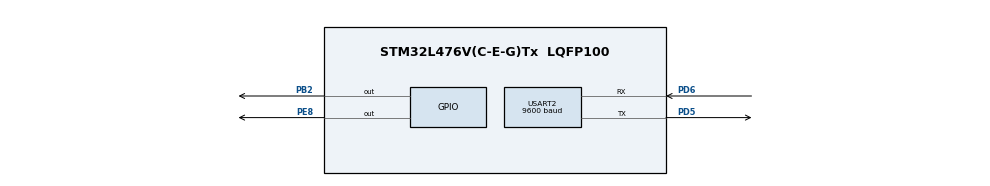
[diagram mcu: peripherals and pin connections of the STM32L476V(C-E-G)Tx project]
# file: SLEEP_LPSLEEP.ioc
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ADC1.Channel-0\#ChannelRegularConversion=ADC_CHANNEL_TEMPSENSOR
ADC1.ClockPrescaler=ADC_CLOCK_ASYNC_DIV1
ADC1.ContinuousConvMode=DISABLE
ADC1.DMAContinuousRequests=ENABLE
ADC1.DataAlign=ADC_DATAALIGN_RIGHT
ADC1.DiscontinuousConvMode=DISABLE
ADC1.EOCSelection=ADC_EOC_SINGLE_CONV
ADC1.EnableAnalogWatchDog1=false
ADC1.EnableAnalogWatchDog2=false
ADC1.EnableAnalogWatchDog3=false
ADC1.EnableInjectedConversion=DISABLE
ADC1.EnableRegularConversion=ENABLE
ADC1.ExternalTrigConv=ADC_EXTERNALTRIG_T2_CC2
ADC1.ExternalTrigConvEdge=ADC_EXTERNALTRIGCONVEDGE_RISINGFALLING
ADC1.LowPowerAutoWait=DISABLE
ADC1.NbrOfConversion=1
ADC1.NbrOfConversionFlag=1
ADC1.Offset-0\#ChannelRegularConversion=0
ADC1.OffsetNumber-0\#ChannelRegularConversion=ADC_OFFSET_NONE
ADC1.Overrun=ADC_OVR_DATA_PRESERVED
ADC1.OversamplingMode=DISABLE
ADC1.Rank-0\#ChannelRegularConversion=1
ADC1.Resolution=ADC_RESOLUTION_12B
ADC1.SamplingTime-0\#ChannelRegularConversion=ADC_SAMPLETIME_640CYCLES_5
ADC1.ScanConvMode=ADC_SCAN_DISABLE
ADC1.master=1
Dma.ADC1.0.Direction=DMA_PERIPH_TO_MEMORY
Dma.ADC1.0.Instance=DMA1_Channel1
Dma.ADC1.0.MemDataAlignment=DMA_MDATAALIGN_HALFWORD
Dma.ADC1.0.MemInc=DMA_MINC_ENABLE
Dma.ADC1.0.Mode=DMA_CIRCULAR
Dma.ADC1.0.NoTestForDmaSupport=false
Dma.ADC1.0.PeriphDataAlignment=DMA_PDATAALIGN_HALFWORD
Dma.ADC1.0.PeriphInc=DMA_PINC_DISABLE
Dma.ADC1.0.Priority=DMA_PRIORITY_LOW
Dma.ADC1.0.Request=DMA_REQUEST_0
Dma.Request0=ADC1
Dma.Request1=USART2_TX
Dma.USART2_TX.1.Direction=DMA_MEMORY_TO_PERIPH
Dma.USART2_TX.1.Instance=DMA1_Channel7
Dma.USART2_TX.1.MemDataAlignment=DMA_MDATAALIGN_BYTE
Dma.USART2_TX.1.MemInc=DMA_MINC_ENABLE
Dma.USART2_TX.1.Mode=DMA_NORMAL
Dma.USART2_TX.1.NoTestForDmaSupport=false
Dma.USART2_TX.1.PeriphDataAlignment=DMA_PDATAALIGN_BYTE
Dma.USART2_TX.1.PeriphInc=DMA_PINC_DISABLE
Dma.USART2_TX.1.Priority=DMA_PRIORITY_LOW
Dma.USART2_TX.1.Request=DMA_REQUEST_2
Mcu.Family=STM32L4
Mcu.Name=STM32L476V(C-E-G)Tx
Mcu.Package=LQFP100
NVIC.DMA1_Channel1_IRQn=true\:0\:0\:false
NVIC.DMA1_Channel7_IRQn=true\:0\:0\:false
NVIC.PriorityGroup=NVIC_PRIORITYGROUP_4
PA13.Mode=Serial-Wire
PA13.Signal=SYS_JTMS-SWDIO
PA14.Mode=Serial-Wire
PA14.Signal=SYS_JTCK-SWCLK
PB2.Signal=GPIO_Output
PD5.Mode=Asynchronous
PD5.Signal=USART2_TX
PD6.Mode=Asynchronous
PD6.Signal=USART2_RX
PE8.Signal=GPIO_Output
ProjectManager.TargetToolchain=EWARM
RCC.ADCCLockSelection=RCC_ADCCLKSOURCE_SYSCLK
RCC.ADCFreq_Value=4000000
RCC.HSE_VALUE=8000000
RCC.HSI_VALUE=16000000
RCC.LSE_VALUE=32768
RCC.MSI_VALUE=4000000
RCC.PREFETCH_ENABLE=1
RCC.USBFreq_Value=16000000
RCC.VCOOutputFreq_Value=32000000
TIM2.Channel-Output\ Compare2\ No\ Output=TIM_CHANNEL_2
TIM2.OCMode_2=TIM_OCMODE_TOGGLE
TIM2.Period=39999
TIM2.TIM_MasterOutputTrigger=TIM_TRGO_RESET
USART2.BaudRate=9600
USART2.WordLength=UART_WORDLENGTH_8B
VP_ADC1_TempSens_Input.Mode=IN-TempSens
VP_TIM2_VS_ClockSourceINT.Mode=Internal
VP_TIM2_VS_no_output2.Mode=Output Compare2 No Output
board=SLEEP_LPSLEEP

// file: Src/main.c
/**
  ******************************************************************************
  * File Name          : main.c
  * Description        : Main program body
  ******************************************************************************
  *
  * COPYRIGHT(c) 2015 STMicroelectronics
  *
  * Redistribution and use in source and binary forms, with or without modification,
  * are permitted provided that the following conditions are met:
  *   1. Redistributions of source code must retain the above copyright notice,
  *      this list of conditions and the following disclaimer.
  *   2. Redistributions in binary form must reproduce the above copyright notice,
  *      this list of conditions and the following disclaimer in the documentation
  *      and/or other materials provided with the distribution.
  *   3. Neither the name of STMicroelectronics nor the names of its contributors
  *      may be used to endorse or promote products derived from this software
  *      without specific prior written permission.
  *
  * THIS SOFTWARE IS PROVIDED BY THE COPYRIGHT HOLDERS AND CONTRIBUTORS "AS IS"
  * AND ANY EXPRESS OR IMPLIED WARRANTIES, INCLUDING, BUT NOT LIMITED TO, THE
  * IMPLIED WARRANTIES OF MERCHANTABILITY AND FITNESS FOR A PARTICULAR PURPOSE ARE
  * DISCLAIMED. IN NO EVENT SHALL THE COPYRIGHT HOLDER OR CONTRIBUTORS BE LIABLE
  * FOR ANY DIRECT, INDIRECT, INCIDENTAL, SPECIAL, EXEMPLARY, OR CONSEQUENTIAL
  * DAMAGES (INCLUDING, BUT NOT LIMITED TO, PROCUREMENT OF SUBSTITUTE GOODS OR
  * SERVICES; LOSS OF USE, DATA, OR PROFITS; OR BUSINESS INTERRUPTION) HOWEVER
  * CAUSED AND ON ANY THEORY OF LIABILITY, WHETHER IN CONTRACT, STRICT LIABILITY,
  * OR TORT (INCLUDING NEGLIGENCE OR OTHERWISE) ARISING IN ANY WAY OUT OF THE USE
  * OF THIS SOFTWARE, EVEN IF ADVISED OF THE POSSIBILITY OF SUCH DAMAGE.
  *
  ******************************************************************************
  */
#include "stm32l4xx_hal.h"

/* USER CODE BEGIN Includes */

#include "stm32l476g_discovery.h"
#include "stm32l476g_discovery_glass_lcd.h"

/* USER CODE END Includes */

ADC_HandleTypeDef hadc1;
DMA_HandleTypeDef hdma_adc1;

TIM_HandleTypeDef htim2;

UART_HandleTypeDef huart2;
DMA_HandleTypeDef hdma_usart2_tx;

/* USER CODE BEGIN PV */
/* Private variables ---------------------------------------------------------*/
#define STRLCD_SIZE 7
#define STRUART_SIZE 7
#define ADCBUF_SIZE 500
#define UARTBUF_SIZE (STRUART_SIZE-1)*ADCBUF_SIZE

#define TEMPSENSOR_TEMPREF 30  //reference value of temperature [C] in data sheet
#define ADCRESOLUTION 4095    //12-bit
#define ADCVREF 3.0           //ADC Vref [V]
#define TEMPSENSOR_VSLOPE 0.0025  //Internal temperature sensor slope [V/C]
#define TEMPSENSOR_VSLOPE_INT (uint16_t)(TEMPSENSOR_VSLOPE/(ADCVREF/ADCRESOLUTION))
#define TEMPSENSOR_V30 0.76  //Internal temperature sensor output voltage [V] for 30C according to data sheet
#define TEMPSENSOR_V30_INT  (uint16_t)(TEMPSENSOR_V30/(ADCVREF/ADCRESOLUTION))

int16_t adcbuf[ADCBUF_SIZE];
uint8_t uartbuf[UARTBUF_SIZE];
uint8_t str[STRLCD_SIZE];
uint8_t dmaTransferState = 0;

/* USER CODE END PV */

void SystemClock_Config(void);
static void MX_GPIO_Init(void);
static void MX_DMA_Init(void);
static void MX_ADC1_Init(void);
static void MX_TIM2_Init(void);
static void MX_USART2_UART_Init(void);

/* USER CODE BEGIN PFP */
/* Private function prototypes -----------------------------------------------*/

void Error_Handler(void);
void SystemClock_Decrease(void);

/* USER CODE END PFP */

int main(void)
{

  /* MCU Configuration----------------------------------------------------------*/

  /* Reset of all peripherals, Initializes the Flash interface and the Systick. */
  HAL_Init();

  /* Configure the system clock */
  SystemClock_Config();

  /* Initialize all configured peripherals */
  MX_GPIO_Init();
  MX_DMA_Init();
  MX_ADC1_Init();
  MX_TIM2_Init();
  MX_USART2_UART_Init();

  /* USER CODE BEGIN 2 */

  BSP_LED_Init(LED4);  //BSP RED LED init (Error handler)
  BSP_LED_Init(LED5);  //BSP GREEN LED init (RUN mode indicator)

  BSP_LCD_GLASS_Init();

  HAL_ADCEx_Calibration_Start(&hadc1, ADC_SINGLE_ENDED);

  HAL_TIM_OC_Start(&htim2,TIM_CHANNEL_2);

  /* USER CODE END 2 */

  /* Infinite loop */
  while (1)
  {

  /* USER CODE BEGIN 3 */

     snprintf((char*)str,STRLCD_SIZE,"RUN A ");
     BSP_LCD_GLASS_DisplayString(str);
     //BSP_LED_On(LED5);
     HAL_Delay(3000);
     //BSP_LED_Off(LED5);
     snprintf((char*)str,STRLCD_SIZE,"ADCDMA");
     BSP_LCD_GLASS_DisplayString(str);

     HAL_ADC_Start_DMA(&hadc1,(uint32_t*)adcbuf,ADCBUF_SIZE);

     HAL_SuspendTick();
     HAL_PWR_EnterSLEEPMode(PWR_MAINREGULATOR_ON, PWR_SLEEPENTRY_WFI);
     HAL_PWR_EnterSLEEPMode(PWR_MAINREGULATOR_ON, PWR_SLEEPENTRY_WFI);  //because of HalfTransferComplete_DMA wakup
     HAL_ResumeTick();

     snprintf((char*)str,STRLCD_SIZE,"RUN B ");
     BSP_LCD_GLASS_DisplayString(str);
     //BSP_LED_On(LED5);
     HAL_Delay(3000);
     //BSP_LED_Off(LED5);
     for(uint16_t i=0;i<ADCBUF_SIZE;i++)
     {
       adcbuf[i] = (adcbuf[i] - TEMPSENSOR_V30_INT)/TEMPSENSOR_VSLOPE_INT + TEMPSENSOR_TEMPREF;
       snprintf((char*)str,STRUART_SIZE,"%03d,\r\n",adcbuf[i]);
       for(uint16_t j=0;j<STRUART_SIZE-1;j++)
       {
         uartbuf[i*(STRUART_SIZE-1)+j]=str[j];
       }
     }

     snprintf((char*)str,STRLCD_SIZE,"USART ");
     BSP_LCD_GLASS_DisplayString(str);

     SystemClock_Decrease();
     MX_USART2_UART_Init();  //USART init after system clock decreasing
     HAL_UART_Transmit_DMA(&huart2, (uint8_t*)uartbuf, UARTBUF_SIZE);

     HAL_SuspendTick();
     HAL_PWR_EnterSLEEPMode(PWR_LOWPOWERREGULATOR_ON, PWR_SLEEPENTRY_WFI);
     HAL_PWR_EnterSLEEPMode(PWR_LOWPOWERREGULATOR_ON, PWR_SLEEPENTRY_WFI);  //because of HalfTransferComplete_DMA wakup
     HAL_ResumeTick();

     HAL_PWREx_DisableLowPowerRunMode();
     SystemClock_Config();
  }
  /* USER CODE END 3 */

}

/** System Clock Configuration
*/
void SystemClock_Config(void)
{

  RCC_OscInitTypeDef RCC_OscInitStruct;
  RCC_ClkInitTypeDef RCC_ClkInitStruct;
  RCC_PeriphCLKInitTypeDef PeriphClkInit;

  RCC_OscInitStruct.OscillatorType = RCC_OSCILLATORTYPE_MSI;
  RCC_OscInitStruct.MSIState = RCC_MSI_ON;
  RCC_OscInitStruct.MSICalibrationValue = 0;
  RCC_OscInitStruct.MSIClockRange = RCC_MSIRANGE_6;
  RCC_OscInitStruct.PLL.PLLState = RCC_PLL_NONE;
  HAL_RCC_OscConfig(&RCC_OscInitStruct);

  RCC_ClkInitStruct.ClockType = RCC_CLOCKTYPE_HCLK|RCC_CLOCKTYPE_SYSCLK
                              |RCC_CLOCKTYPE_PCLK1|RCC_CLOCKTYPE_PCLK2;
  RCC_ClkInitStruct.SYSCLKSource = RCC_SYSCLKSOURCE_MSI;
  RCC_ClkInitStruct.AHBCLKDivider = RCC_SYSCLK_DIV1;
  RCC_ClkInitStruct.APB1CLKDivider = RCC_HCLK_DIV1;
  RCC_ClkInitStruct.APB2CLKDivider = RCC_HCLK_DIV1;
  HAL_RCC_ClockConfig(&RCC_ClkInitStruct, FLASH_LATENCY_0);

  PeriphClkInit.PeriphClockSelection = RCC_PERIPHCLK_USART2|RCC_PERIPHCLK_ADC;
  PeriphClkInit.Usart2ClockSelection = RCC_USART2CLKSOURCE_PCLK1;
  PeriphClkInit.AdcClockSelection = RCC_ADCCLKSOURCE_SYSCLK;
  HAL_RCCEx_PeriphCLKConfig(&PeriphClkInit);

  __PWR_CLK_ENABLE();

  HAL_PWREx_ControlVoltageScaling(PWR_REGULATOR_VOLTAGE_SCALE1);

  HAL_SYSTICK_Config(HAL_RCC_GetHCLKFreq()/1000);

  HAL_SYSTICK_CLKSourceConfig(SYSTICK_CLKSOURCE_HCLK);

}

/* ADC1 init function */
void MX_ADC1_Init(void)
{

  ADC_ChannelConfTypeDef sConfig;

    /**Common config
    */
  hadc1.Instance = ADC1;
  hadc1.Init.ClockPrescaler = ADC_CLOCK_ASYNC_DIV1;
  hadc1.Init.Resolution = ADC_RESOLUTION_12B;
  hadc1.Init.DataAlign = ADC_DATAALIGN_RIGHT;
  hadc1.Init.ScanConvMode = ADC_SCAN_DISABLE;
  hadc1.Init.EOCSelection = ADC_EOC_SINGLE_CONV;
  hadc1.Init.LowPowerAutoWait = DISABLE;
  hadc1.Init.ContinuousConvMode = DISABLE;
  hadc1.Init.NbrOfConversion = 1;
  hadc1.Init.DiscontinuousConvMode = DISABLE;
  hadc1.Init.ExternalTrigConv = ADC_EXTERNALTRIG_T2_CC2;
  hadc1.Init.ExternalTrigConvEdge = ADC_EXTERNALTRIGCONVEDGE_RISINGFALLING;
  hadc1.Init.DMAContinuousRequests = ENABLE;
  hadc1.Init.Overrun = ADC_OVR_DATA_PRESERVED;
  hadc1.Init.OversamplingMode = DISABLE;
  hadc1.Init.NbrOfDiscConversion = 1;
  HAL_ADC_Init(&hadc1);

    /**Configure Regular Channel
    */
  sConfig.Channel = ADC_CHANNEL_TEMPSENSOR;
  sConfig.Rank = 1;
  sConfig.SamplingTime = ADC_SAMPLETIME_640CYCLES_5;
  sConfig.SingleDiff = ADC_SINGLE_ENDED;
  sConfig.OffsetNumber = ADC_OFFSET_NONE;
  sConfig.Offset = 0;
  HAL_ADC_ConfigChannel(&hadc1, &sConfig);

}

/* TIM2 init function */
void MX_TIM2_Init(void)
{

  TIM_ClockConfigTypeDef sClockSourceConfig;
  TIM_MasterConfigTypeDef sMasterConfig;
  TIM_OC_InitTypeDef sConfigOC;

  htim2.Instance = TIM2;
  htim2.Init.Prescaler = 0;
  htim2.Init.CounterMode = TIM_COUNTERMODE_UP;
  htim2.Init.Period = 39999;
  htim2.Init.ClockDivision = TIM_CLOCKDIVISION_DIV1;
  HAL_TIM_Base_Init(&htim2);

  sClockSourceConfig.ClockSource = TIM_CLOCKSOURCE_INTERNAL;
  HAL_TIM_ConfigClockSource(&htim2, &sClockSourceConfig);

  HAL_TIM_OC_Init(&htim2);

  sMasterConfig.MasterOutputTrigger = TIM_TRGO_RESET;
  sMasterConfig.MasterSlaveMode = TIM_MASTERSLAVEMODE_DISABLE;
  HAL_TIMEx_MasterConfigSynchronization(&htim2, &sMasterConfig);

  sConfigOC.OCMode = TIM_OCMODE_TOGGLE;
  sConfigOC.Pulse = 0;
  sConfigOC.OCPolarity = TIM_OCPOLARITY_HIGH;
  sConfigOC.OCFastMode = TIM_OCFAST_DISABLE;
  HAL_TIM_OC_ConfigChannel(&htim2, &sConfigOC, TIM_CHANNEL_2);

}

/* USART2 init function */
void MX_USART2_UART_Init(void)
{

  huart2.Instance = USART2;
  huart2.Init.BaudRate = 9600;
  huart2.Init.WordLength = UART_WORDLENGTH_8B;
  huart2.Init.StopBits = UART_STOPBITS_1;
  huart2.Init.Parity = UART_PARITY_NONE;
  huart2.Init.Mode = UART_MODE_TX_RX;
  huart2.Init.HwFlowCtl = UART_HWCONTROL_NONE;
  huart2.Init.OverSampling = UART_OVERSAMPLING_16;
  huart2.Init.OneBitSampling = UART_ONEBIT_SAMPLING_DISABLED;
  huart2.AdvancedInit.AdvFeatureInit = UART_ADVFEATURE_NO_INIT;
  HAL_UART_Init(&huart2);

}

void MX_DMA_Init(void)
{
  /* DMA controller clock enable */
  __HAL_RCC_DMA1_CLK_ENABLE();

  /* DMA interrupt init */
  HAL_NVIC_SetPriority(DMA1_Channel1_IRQn, 0, 0);
  HAL_NVIC_EnableIRQ(DMA1_Channel1_IRQn);
  HAL_NVIC_SetPriority(DMA1_Channel7_IRQn, 0, 0);
  HAL_NVIC_EnableIRQ(DMA1_Channel7_IRQn);

}

/** Configure pins as
        * Analog
        * Input
        * Output
        * EVENT_OUT
        * EXTI
        * Free pins are configured automatically as Analog (this feature is enabled through
        * the Code Generation settings)
*/
void MX_GPIO_Init(void)
{

  GPIO_InitTypeDef GPIO_InitStruct;

  /* GPIO Ports Clock Enable */
  __GPIOE_CLK_ENABLE();
  __GPIOC_CLK_ENABLE();
  __GPIOH_CLK_ENABLE();
  __GPIOA_CLK_ENABLE();
  __GPIOB_CLK_ENABLE();
  __GPIOD_CLK_ENABLE();

  /*Configure GPIO pins : PE2 PE3 PE4 PE5
                           PE6 PE7 PE9 PE10
                           PE11 PE12 PE13 PE14
                           PE15 PE0 PE1 */
  GPIO_InitStruct.Pin = GPIO_PIN_2|GPIO_PIN_3|GPIO_PIN_4|GPIO_PIN_5
                          |GPIO_PIN_6|GPIO_PIN_7|GPIO_PIN_9|GPIO_PIN_10
                          |GPIO_PIN_11|GPIO_PIN_12|GPIO_PIN_13|GPIO_PIN_14
                          |GPIO_PIN_15|GPIO_PIN_0|GPIO_PIN_1;
  GPIO_InitStruct.Mode = GPIO_MODE_ANALOG;
  GPIO_InitStruct.Pull = GPIO_NOPULL;
  HAL_GPIO_Init(GPIOE, &GPIO_InitStruct);

  /*Configure GPIO pins : PC13 PC14 PC15 PC0
                           PC1 PC2 PC3 PC4
                           PC5 PC6 PC7 PC8
                           PC9 PC10 PC11 PC12 */
  GPIO_InitStruct.Pin = GPIO_PIN_13|GPIO_PIN_14|GPIO_PIN_15|GPIO_PIN_0
                          |GPIO_PIN_1|GPIO_PIN_2|GPIO_PIN_3|GPIO_PIN_4
                          |GPIO_PIN_5|GPIO_PIN_6|GPIO_PIN_7|GPIO_PIN_8
                          |GPIO_PIN_9|GPIO_PIN_10|GPIO_PIN_11|GPIO_PIN_12;
  GPIO_InitStruct.Mode = GPIO_MODE_ANALOG;
  GPIO_InitStruct.Pull = GPIO_NOPULL;
  HAL_GPIO_Init(GPIOC, &GPIO_InitStruct);

  /*Configure GPIO pins : PH0 PH1 */
  GPIO_InitStruct.Pin = GPIO_PIN_0|GPIO_PIN_1;
  GPIO_InitStruct.Mode = GPIO_MODE_ANALOG;
  GPIO_InitStruct.Pull = GPIO_NOPULL;
  HAL_GPIO_Init(GPIOH, &GPIO_InitStruct);

  /*Configure GPIO pins : PA0 PA1 PA2 PA3
                           PA4 PA5 PA6 PA7
                           PA8 PA9 PA10 PA11
                           PA12 PA15 */
  GPIO_InitStruct.Pin = GPIO_PIN_0|GPIO_PIN_1|GPIO_PIN_2|GPIO_PIN_3
                          |GPIO_PIN_4|GPIO_PIN_5|GPIO_PIN_6|GPIO_PIN_7
                          |GPIO_PIN_8|GPIO_PIN_9|GPIO_PIN_10|GPIO_PIN_11
                          |GPIO_PIN_12|GPIO_PIN_15;
  GPIO_InitStruct.Mode = GPIO_MODE_ANALOG;
  GPIO_InitStruct.Pull = GPIO_NOPULL;
  HAL_GPIO_Init(GPIOA, &GPIO_InitStruct);

  /*Configure GPIO pins : PB0 PB1 PB10 PB11
                           PB12 PB13 PB14 PB15
                           PB3 PB4 PB5 PB6
                           PB7 PB8 PB9 */
  GPIO_InitStruct.Pin = GPIO_PIN_0|GPIO_PIN_1|GPIO_PIN_10|GPIO_PIN_11
                          |GPIO_PIN_12|GPIO_PIN_13|GPIO_PIN_14|GPIO_PIN_15
                          |GPIO_PIN_3|GPIO_PIN_4|GPIO_PIN_5|GPIO_PIN_6
                          |GPIO_PIN_7|GPIO_PIN_8|GPIO_PIN_9;
  GPIO_InitStruct.Mode = GPIO_MODE_ANALOG;
  GPIO_InitStruct.Pull = GPIO_NOPULL;
  HAL_GPIO_Init(GPIOB, &GPIO_InitStruct);

  /*Configure GPIO pin : PB2 */
  GPIO_InitStruct.Pin = GPIO_PIN_2;
  GPIO_InitStruct.Mode = GPIO_MODE_OUTPUT_PP;
  GPIO_InitStruct.Pull = GPIO_NOPULL;
  GPIO_InitStruct.Speed = GPIO_SPEED_LOW;
  HAL_GPIO_Init(GPIOB, &GPIO_InitStruct);

  /*Configure GPIO pin : PE8 */
  GPIO_InitStruct.Pin = GPIO_PIN_8;
  GPIO_InitStruct.Mode = GPIO_MODE_OUTPUT_PP;
  GPIO_InitStruct.Pull = GPIO_NOPULL;
  GPIO_InitStruct.Speed = GPIO_SPEED_LOW;
  HAL_GPIO_Init(GPIOE, &GPIO_InitStruct);

  /*Configure GPIO pins : PD8 PD9 PD10 PD11
                           PD12 PD13 PD14 PD15
                           PD0 PD1 PD2 PD3
                           PD4 PD7 */
  GPIO_InitStruct.Pin = GPIO_PIN_8|GPIO_PIN_9|GPIO_PIN_10|GPIO_PIN_11
                          |GPIO_PIN_12|GPIO_PIN_13|GPIO_PIN_14|GPIO_PIN_15
                          |GPIO_PIN_0|GPIO_PIN_1|GPIO_PIN_2|GPIO_PIN_3
                          |GPIO_PIN_4|GPIO_PIN_7;
  GPIO_InitStruct.Mode = GPIO_MODE_ANALOG;
  GPIO_InitStruct.Pull = GPIO_NOPULL;
  HAL_GPIO_Init(GPIOD, &GPIO_InitStruct);

}

/* USER CODE BEGIN 4 */

void SystemClock_Decrease(void)
{
  RCC_ClkInitTypeDef RCC_ClkInitStruct = {0};
  RCC_OscInitTypeDef RCC_OscInitStruct = {0};

  /* MSI is enabled after System reset, activate PLL with MSI as source */
  RCC_OscInitStruct.OscillatorType = RCC_OSCILLATORTYPE_MSI;
  RCC_OscInitStruct.HSEState = RCC_HSE_OFF;
  RCC_OscInitStruct.HSIState = RCC_HSI_ON;
  RCC_OscInitStruct.MSIState = RCC_MSI_ON;
  RCC_OscInitStruct.MSIClockRange = RCC_MSIRANGE_4;
  RCC_OscInitStruct.MSICalibrationValue = RCC_MSICALIBRATION_DEFAULT;
  RCC_OscInitStruct.PLL.PLLState = RCC_PLL_NONE;
  if(HAL_RCC_OscConfig(&RCC_OscInitStruct) != HAL_OK)
  {
    /* Initialization Error */
    Error_Handler();
  }

  /* Select MSI as system clock source and configure the HCLK, PCLK1 and PCLK2
     clocks dividers */
  RCC_ClkInitStruct.ClockType = RCC_CLOCKTYPE_SYSCLK;
  RCC_ClkInitStruct.SYSCLKSource = RCC_SYSCLKSOURCE_MSI;
  RCC_ClkInitStruct.AHBCLKDivider = RCC_SYSCLK_DIV1;
  RCC_ClkInitStruct.APB1CLKDivider = RCC_HCLK_DIV1;
  RCC_ClkInitStruct.APB2CLKDivider = RCC_HCLK_DIV1;
  if(HAL_RCC_ClockConfig(&RCC_ClkInitStruct, FLASH_LATENCY_0) != HAL_OK)
  {
    /* Initialization Error */
    Error_Handler();
  }

  /* Disable HSI to reduce power consumption since MSI is used from that point */
  __HAL_RCC_HSI_DISABLE();

}

void HAL_ADC_ConvCpltCallback(ADC_HandleTypeDef* hadc)
{
  HAL_ADC_Stop_DMA(&hadc1);
}

void HAL_UART_TxCpltCallback(UART_HandleTypeDef *huart)
{
  HAL_UART_DMAStop(&huart2);
}

void Error_Handler(void)
{
  while (1)
  {
    BSP_LED_On(LED4);
  }
}

/* USER CODE END 4 */

/************************ (C) COPYRIGHT STMicroelectronics *****END OF FILE****/
